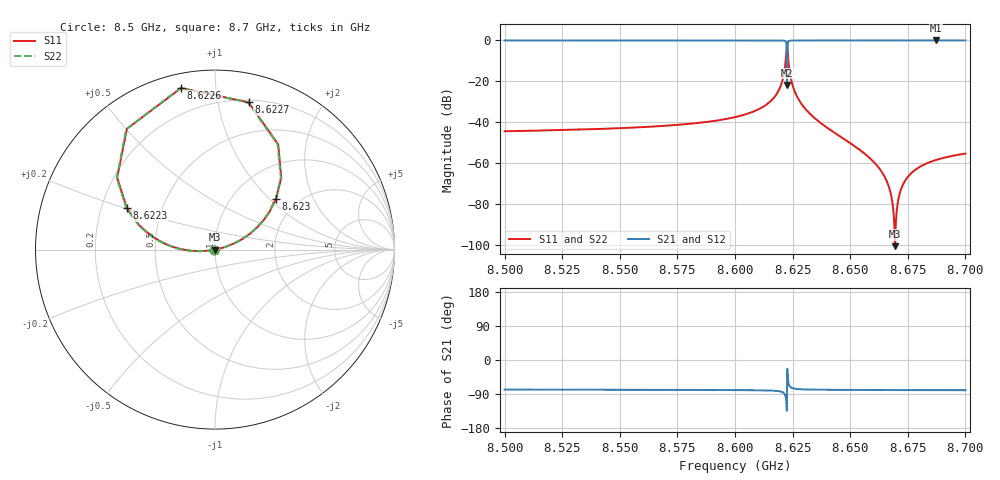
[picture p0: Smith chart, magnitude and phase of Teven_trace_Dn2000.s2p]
! Sonnet Data File
! From: emgraph Version : 16.52
! From Project: 171114transmon_trace_brg2
! Data is De-embedded
! Data File Written: 11/14/2017 15:35:21
!< HDATE 11/14/2017 14:44:41
!< MDATE 11/14/2017 14:44:41
!< PARAMS
!< Lj = 15.24
!< Gap = 14.0
!< Width = 10.0
!< Airgap = 6.0
!< Pwidth = 2000.0
!< Dist = 2000.0
!< END PARAMS
# GHZ S MA R 51.90000
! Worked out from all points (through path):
!   2001 points, 8.5 GHz to 8.7 GHz, reference 51.9 ohm
!   highest |S21| = 0.00 dB at 8.6874 GHz (marker M1); lowest = -21.8 dB at 8.6226 GHz (marker M2)
!   lowest |S11| = -100.8 dB at 8.6695 GHz (marker M3), VSWR 1.00, Z = 51.9 - j0.000926 ohm
!   |S11| at or under -10 dB: start of sweep to 8.622 GHz; 8.6232 GHz to end of sweep
!   |S22| runs from -95.6 to -0.7 dB; largest |S21 - S12| = 0
!   S11 on the Smith chart (normalised r, x): 8.5 GHz: 0.99, -0.00; 8.6223 GHz: 0.31, +0.20; 8.6226 GHz: 0.07, +0.81; 8.6227 GHz: 0.22, +1.23; 8.623 GHz: 1.56, +1.10; 8.7 GHz: 1.00, -0.00
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8.5  0.005982 -168.2  1 -78.1  1 -78.1  0.005982 -168.1
!< P1 F=8.5 Eeff=(6.44695349 -2.9785e-5) Z0=(51.7999087 1.19092e-4) R=0.0 C=0.0
!< P2 F=8.5 Eeff=(6.44695349 -2.9785e-5) Z0=(51.7999087 1.19092e-4) R=0.0 C=0.0
8.5334  0.006595 -168.5  1 -78.4  1 -78.4  0.006595 -168.4
8.5667  0.00794 -168.9  1 -78.8  1 -78.8  0.00794 -168.8
8.6  0.01326 -169.6  0.9999 -79.4  0.9999 -79.4  0.01326 -169.4
8.6166  0.03794 -171.3  0.9992 -81.0  0.9992 -81.0  0.03794 -171.0
8.6201  0.08466 -174.2  0.9958 -83.7  0.9958 -83.7  0.08466 -173.9
8.6216  0.2008 178.4  0.9762 -90.4  0.9762 -90.4  0.2008 178.7
8.6223  0.542 154.9  0.8097 -111.6  0.8097 -111.6  0.542 155.2
8.6226  0.9198 101.8  0.08144 -88.5  0.08144 -88.5  0.9198 102.1
8.6227  0.8413 77.1  0.4104 -23.0  0.4104 -23.0  0.8413 77.5
8.623  0.4424 39.8  0.8773 -52.6  0.8773 -52.6  0.4424 40.1
8.6237  0.1765 22.1  0.9814 -68.7  0.9814 -68.7  0.1765 22.4
8.6247  0.09156 16.7  0.995 -73.6  0.995 -73.6  0.09156 17.0
8.6262  0.05176 14.2  0.9984 -75.9  0.9984 -75.9  0.05176 14.5
8.6334  0.01439 11.8  0.9999 -78.2  0.9999 -78.2  0.01439 12.2
8.6586  0.001299 10.4  1 -79.1  1 -79.1  0.001299 11.8
8.6636  0.0006153 9.9  1 -79.2  1 -79.2  0.0006155 12.5
8.6667  0.0002695 8.8  1 -79.3  1 -79.3  0.0002699 14.4
8.6695  9.172e-06 -103.5  1 -79.3  1 -79.3  1.656e-05 113.8
8.6759  0.0005201 -168.6  1 -79.4  1 -79.4  0.0005202 -171.0
8.6874  0.001191 -169.3  1 -79.5  1 -79.5  0.001191 -170.1
8.7  0.001696 -169.5  1 -79.7  1 -79.7  0.001696 -170.0
